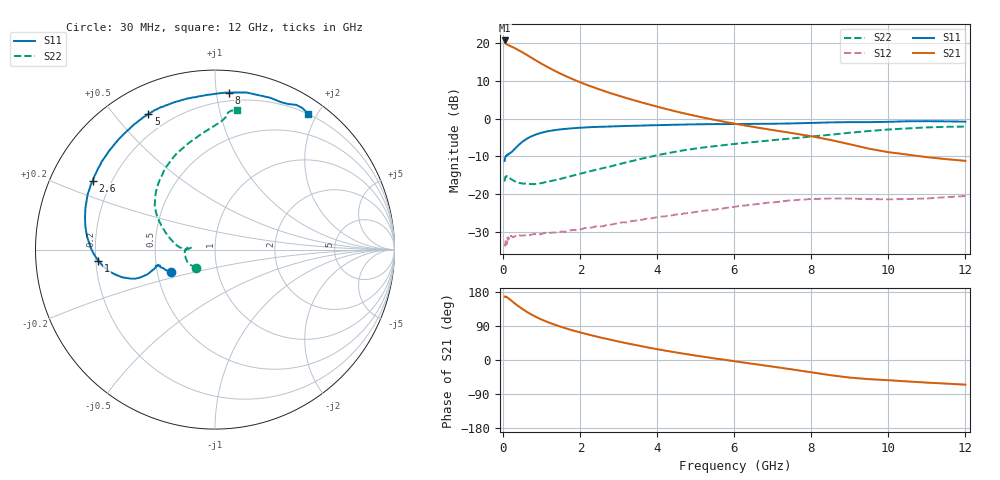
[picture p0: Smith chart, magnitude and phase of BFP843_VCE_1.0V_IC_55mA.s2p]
! Infineon Technologies  Discrete & RF Semiconductors
! BFP843
! VCE =  1.0 V,  IC =  55 mA
! Common Emitter S-Parameters:  Aug 2013
# GHz  S  MA  R  50
!  f  S11  S21  S12  S22
! GHz  MAG  ANG  MAG  ANG  MAG  ANG  MAG  ANG
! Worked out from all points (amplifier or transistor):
!   103 points, 30 MHz to 12 GHz, reference 50 ohm
!   highest |S21| = 20.8 dB at 30 MHz (marker M1)
!   |S21| within 3 dB of that: start of sweep to 466.4 MHz
!   unconditionally stable (mu >= 1): start of sweep to end of sweep
!   at 400 MHz: K = 1.85, MAG = 19.2 dB, |S12| = -30.8 dB
!   at 3.7 GHz: K = 2.26, MAG = 9.0 dB, |S12| = -26.6 dB
!   at 12 GHz: K = 1.74, MAG = -0.3 dB, |S12| = -20.6 dB
!   S11 on the Smith chart (normalised r, x): 30 MHz: 0.59, -0.16; 1 GHz: 0.21, -0.05; 2.6 GHz: 0.13, +0.26; 5 GHz: 0.12, +0.62; 8 GHz: 0.14, +1.08; 12 GHz: 0.21, +1.88
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0.03  0.2751 -153.2  10.97 167.0  0.0202 29.8  0.1464 -135.2
0.04  0.2976 -157.6  10.48 166.7  0.0211 23.0  0.1604 -147.8
0.05  0.306 -160.1  10.22 167.6  0.0207 21.2  0.1685 -155.6
0.07  0.3189 -163.6  9.831 166.9  0.0238 4.6  0.1701 -165.1
0.3  0.3994 -159.9  8.637 148.9  0.0274 11.7  0.1467 174.5
0.4  0.4493 -159.6  8.092 141.2  0.0287 10.1  0.1408 173.5
0.5  0.4967 -161.0  7.593 134.1  0.028 10.8  0.1373 173.5
0.7  0.5745 -166.1  6.585 121.4  0.0285 11.2  0.1354 174.6
1  0.6525 -174.5  5.345 106.3  0.0295 14.1  0.1397 176.9
1.2  0.6883 -180.0  4.696 98.0  0.0303 15.4  0.1475 178.3
1.5  0.7227 172.6  3.929 87.4  0.0316 18.0  0.1595 179.0
1.8  0.7466 165.9  3.35 78.1  0.0331 19.1  0.1749 178.4
2.1  0.7633 159.9  2.9 69.9  0.035 21.6  0.1915 176.8
2.6  0.7823 150.6  2.35 57.6  0.0372 23.6  0.2211 172.6
3.3  0.8032 138.7  1.813 42.1  0.0432 24.7  0.2708 164.0
4.1  0.8227 126.7  1.399 26.6  0.05 24.1  0.335 154.7
5  0.8414 116.2  1.087 11.6  0.0576 21.3  0.4018 145.9
6.1  0.8504 106.4  0.843 -4.7  0.0686 16.1  0.4676 134.0
8  0.8784 84.9  0.584 -32.5  0.0856 0.0  0.5791 111.0
8.5  0.8928 78.7  0.521 -40.1  0.0869 -5.3  0.6127 103.6
10.5  0.9248 60.7  0.333 -56.6  0.0855 -16.8  0.743 85.2
12  0.9134 55.5  0.275 -65.1  0.0937 -24.0  0.7859 81.2
